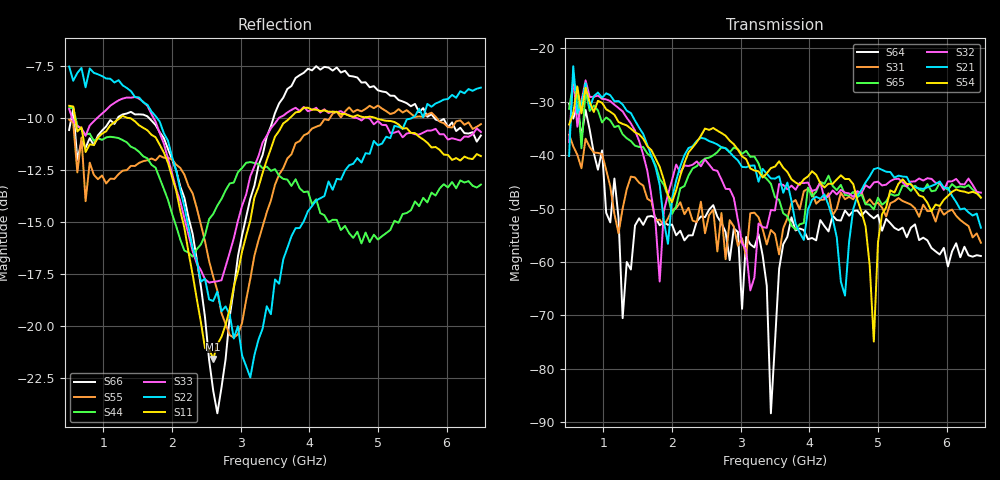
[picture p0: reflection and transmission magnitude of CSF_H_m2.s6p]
!Keysight Technologies,M9804A,MY58100912,A.14.10.03
!Date: Thursday, April 27, 2023 10:28:33
!Correction: S11(C  6-Port  )
!S12(C  6-Port  )
!S13(C  6-Port  )
!S14(C  6-Port  )
!S15(C  6-Port  )
!S16(C  6-Port  )
!S21(C  6-Port  )
!S22(C  6-Port  )
!S23(C  6-Port  )
!S24(C  6-Port  )
!S25(C  6-Port  )
!S26(C  6-Port  )
!S31(C  6-Port  )
!S32(C  6-Port  )
!S33(C  6-Port  )
!S34(C  6-Port  )
!S35(C  6-Port  )
!S36(C  6-Port  )
!S41(C  6-Port  )
!S42(C  6-Port  )
!S43(C  6-Port  )
!S44(C  6-Port  )
!S45(C  6-Port  )
!S46(C  6-Port  )
!S51(C  6-Port  )
!S52(C  6-Port  )
!S53(C  6-Port  )
!S54(C  6-Port  )
!S55(C  6-Port  )
!S56(C  6-Port  )
!S61(C  6-Port  )
!S62(C  6-Port  )
!S63(C  6-Port  )
!S64(C  6-Port  )
!S65(C  6-Port  )
!S66(C  6-Port  )
!S6P File: Measurement: :
# Hz S  RI  R 50
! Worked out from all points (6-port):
!   101 points, 500 MHz to 6.5 GHz, reference 50 ohm
!   strongest paths, dB at 500 MHz, 2 GHz, 3.5 GHz, 5 GHz, 6.5 GHz:
!     S54: -34.3, -48.8, -42.1, -56.4, -47.9
!     S21: -40.1, -48.1, -44.4, -42.4, -53.6
!     S32: -37.5, -44.6, -50.3, -45.0, -47.0
!     S65: -31.3, -51.0, -47.9, -48.0, -48.0
!     S31: -36.1, -50.3, -54.8, -48.9, -56.4
!     S64: -30.4, -53.0, -75.0, -51.2, -58.9
!   lowest |S11| = -21.6 dB at 2.6 GHz (marker M1), VSWR 1.18, Z = 42.6 + j2.06 ohm
!   |S11| at or under -10 dB: 588.4 MHz to 1.235 GHz (646.8 MHz wide, 70.9 % of centre); 1.397 GHz to 3.713 GHz (2.316 GHz wide, 90.7 % of centre); 4.973 GHz to end of sweep
